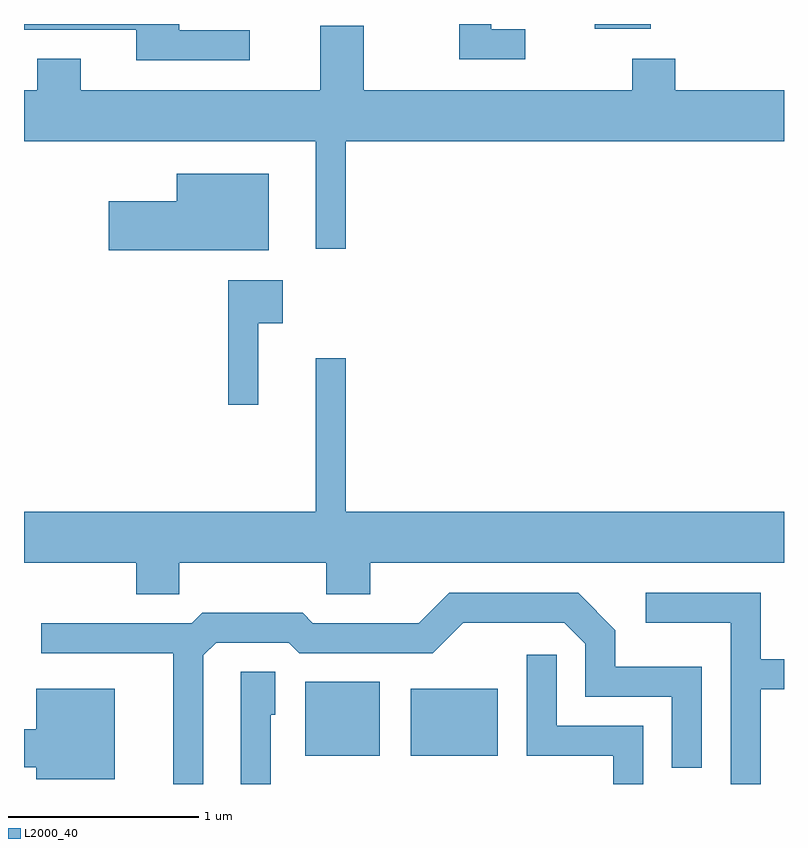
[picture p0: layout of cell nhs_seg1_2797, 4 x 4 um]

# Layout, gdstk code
import gdstk
lib = gdstk.Library(unit=1e-6, precision=1e-09)
def R(c, l, rs):  # rectangles x0, y0, x1, y1
    for r in rs: c.add(gdstk.rectangle(r[:2], r[2:], *l))
def P(c, l, *ps):  # polygons
    for p in ps: c.add(gdstk.Polygon(p, *l))
L2000_40 = (2000, 40)

nhs_seg1_2797 = lib.new_cell('nhs_seg1_2797')
R(nhs_seg1_2797, L2000_40, [(271.091,931.861,271.484,932.249), (271.646,931.861,272.104,932.214), (272.616,935.686,272.909,935.712)])
P(nhs_seg1_2797, L2000_40, [(272.248,935.684),(272.069,935.684),(272.069,935.712),(271.901,935.712),(271.901,935.526),(272.248,935.526)],
  [(270.798,935.679),(270.429,935.679),(270.429,935.712),(269.611,935.712),(269.611,935.681),(270.201,935.681),(270.201,935.521),(270.798,935.521)],
  [(271.304,935.096),(273.611,935.096),(273.611,935.364),(273.039,935.364),(273.039,935.529),(272.811,935.529),(272.811,935.364),(271.399,935.364),(271.399,935.704),(271.171,935.704),(271.171,935.364),(269.909,935.364),(269.909,935.529),(269.681,935.529),(269.681,935.364),(269.611,935.364),(269.611,935.096),(271.146,935.096),(271.146,934.528),(271.304,934.528)],
  [(270.899,934.924),(270.416,934.924),(270.416,934.779),(270.056,934.779),(270.056,934.521),(270.899,934.521)],
  [(270.844,934.136),(270.974,934.136),(270.974,934.364),(270.686,934.364),(270.686,933.708),(270.844,933.708)],
  [(270.429,932.876),(271.201,932.876),(271.201,932.711),(271.434,932.711),(271.434,932.876),(273.611,932.876),(273.611,933.144),(271.304,933.144),(271.304,933.953),(271.146,933.953),(271.146,933.144),(269.611,933.144),(269.611,932.876),(270.201,932.876),(270.201,932.711),(270.429,932.711)],
  [(270.554,932.389),(270.622,932.456),(271.004,932.456),(271.059,932.401),(271.762,932.401),(271.922,932.561),(272.454,932.561),(272.566,932.449),(272.566,932.171),(273.021,932.171),(273.021,931.798),(273.179,931.798),(273.179,932.329),(272.724,932.329),(272.724,932.522),(272.527,932.719),(271.849,932.719),(271.689,932.559),(271.132,932.559),(271.077,932.614),(270.549,932.614),(270.494,932.559),(269.703,932.559),(269.703,932.401),(270.396,932.401),(270.396,931.712),(270.554,931.712)],
  [(273.489,932.211),(273.611,932.211),(273.611,932.369),(273.489,932.369),(273.489,932.719),(272.883,932.719),(272.883,932.561),(273.331,932.561),(273.331,931.712),(273.489,931.712)],
  [(272.869,932.019),(272.414,932.019),(272.414,932.393),(272.256,932.393),(272.256,931.861),(272.711,931.861),(272.711,931.712),(272.869,931.712)],
  [(270.909,932.076),(270.934,932.076),(270.934,932.304),(270.751,932.304),(270.751,931.712),(270.909,931.712)],
  [(270.089,932.214),(269.676,932.214),(269.676,931.999),(269.611,931.999),(269.611,931.801),(269.676,931.801),(269.676,931.736),(270.089,931.736)])

lib.write_gds('nhs_seg1_2797.gds')
